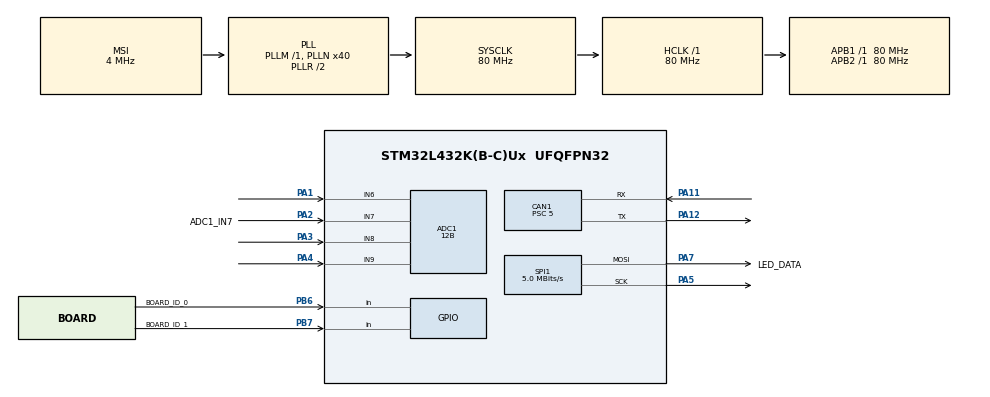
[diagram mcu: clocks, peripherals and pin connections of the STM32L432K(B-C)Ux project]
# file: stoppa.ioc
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ADC1.Channel-1\#ChannelRegularConversion=ADC_CHANNEL_6
ADC1.Channel-2\#ChannelRegularConversion=ADC_CHANNEL_7
ADC1.Channel-3\#ChannelRegularConversion=ADC_CHANNEL_8
ADC1.Channel-4\#ChannelRegularConversion=ADC_CHANNEL_9
ADC1.ClockPrescaler=ADC_CLOCK_ASYNC_DIV128
ADC1.ContinuousConvMode=ENABLE
ADC1.DMAContinuousRequests=ENABLE
ADC1.EOCSelection=ADC_EOC_SEQ_CONV
ADC1.NbrOfConversion=4
ADC1.NbrOfConversionFlag=1
ADC1.OffsetNumber-1\#ChannelRegularConversion=ADC_OFFSET_NONE
ADC1.OffsetNumber-2\#ChannelRegularConversion=ADC_OFFSET_NONE
ADC1.OffsetNumber-3\#ChannelRegularConversion=ADC_OFFSET_NONE
ADC1.OffsetNumber-4\#ChannelRegularConversion=ADC_OFFSET_NONE
ADC1.Rank-1\#ChannelRegularConversion=1
ADC1.Rank-2\#ChannelRegularConversion=2
ADC1.Rank-3\#ChannelRegularConversion=3
ADC1.Rank-4\#ChannelRegularConversion=4
ADC1.Resolution=ADC_RESOLUTION_12B
ADC1.SamplingTime-1\#ChannelRegularConversion=ADC_SAMPLETIME_640CYCLES_5
ADC1.SamplingTime-2\#ChannelRegularConversion=ADC_SAMPLETIME_640CYCLES_5
ADC1.SamplingTime-3\#ChannelRegularConversion=ADC_SAMPLETIME_2CYCLES_5
ADC1.SamplingTime-4\#ChannelRegularConversion=ADC_SAMPLETIME_640CYCLES_5
ADC1.master=1
CAN1.ABOM=ENABLE
CAN1.BS1=CAN_BS1_13TQ
CAN1.BS2=CAN_BS2_2TQ
CAN1.CalculateBaudRate=1000000
CAN1.CalculateTimeBit=1000
CAN1.CalculateTimeQuantum=62.5
CAN1.Mode=CAN_MODE_NORMAL
CAN1.NART=DISABLE
CAN1.Prescaler=5
CAN1.SJW=CAN_SJW_1TQ
CAN1.TXFP=DISABLE
Dma.ADC1.0.Direction=DMA_PERIPH_TO_MEMORY
Dma.ADC1.0.Instance=DMA1_Channel1
Dma.ADC1.0.MemDataAlignment=DMA_MDATAALIGN_HALFWORD
Dma.ADC1.0.MemInc=DMA_MINC_ENABLE
Dma.ADC1.0.Mode=DMA_CIRCULAR
Dma.ADC1.0.PeriphDataAlignment=DMA_PDATAALIGN_HALFWORD
Dma.ADC1.0.PeriphInc=DMA_PINC_DISABLE
Dma.ADC1.0.Priority=DMA_PRIORITY_LOW
Dma.Request0=ADC1
Dma.Request1=SPI1_TX
Dma.SPI1_TX.1.Direction=DMA_MEMORY_TO_PERIPH
Dma.SPI1_TX.1.Instance=DMA2_Channel4
Dma.SPI1_TX.1.MemDataAlignment=DMA_MDATAALIGN_BYTE
Dma.SPI1_TX.1.MemInc=DMA_MINC_ENABLE
Dma.SPI1_TX.1.Mode=DMA_NORMAL
Dma.SPI1_TX.1.PeriphDataAlignment=DMA_PDATAALIGN_BYTE
Dma.SPI1_TX.1.PeriphInc=DMA_PINC_DISABLE
Dma.SPI1_TX.1.Priority=DMA_PRIORITY_VERY_HIGH
IWDG.Reload=3999
IWDG.Window=3999
Mcu.Family=STM32L4
Mcu.Name=STM32L432K(B-C)Ux
Mcu.Package=UFQFPN32
NVIC.ADC1_IRQn=true\:0\:0\:false\:false\:true\:true\:true\:true
NVIC.CAN1_RX0_IRQn=true\:0\:0\:false\:false\:true\:true\:true\:true
NVIC.CAN1_RX1_IRQn=true\:0\:0\:false\:false\:true\:true\:true\:true
NVIC.CAN1_SCE_IRQn=true\:0\:0\:false\:false\:true\:true\:true\:true
NVIC.CAN1_TX_IRQn=true\:0\:0\:false\:false\:true\:true\:true\:true
NVIC.DMA1_Channel1_IRQn=true\:0\:0\:false\:false\:true\:false\:true\:true
NVIC.DMA2_Channel4_IRQn=true\:0\:0\:false\:false\:true\:false\:true\:true
NVIC.PriorityGroup=NVIC_PRIORITYGROUP_4
NVIC.SPI1_IRQn=true\:0\:0\:false\:false\:true\:true\:true\:true
PA0.Mode=HSE-External-Clock-Source-for-LittleOrca
PA0.Signal=RCC_CK_IN
PA1.Signal=ADCx_IN6
PA11.Mode=CAN_Activate
PA11.Signal=CAN1_RX
PA12.Mode=CAN_Activate
PA12.Signal=CAN1_TX
PA13\ (JTMS-SWDIO).Mode=Serial_Wire
PA13\ (JTMS-SWDIO).Signal=SYS_JTMS-SWDIO
PA14\ (JTCK-SWCLK).Mode=Serial_Wire
PA14\ (JTCK-SWCLK).Signal=SYS_JTCK-SWCLK
PA2.GPIO_Label=ADC1_IN7
PA2.Signal=ADCx_IN7
PA3.Signal=ADCx_IN8
PA4.Signal=ADCx_IN9
PA5.Mode=TX_Only_Simplex_Unidirect_Master
PA5.Signal=SPI1_SCK
PA7.GPIO_Label=LED_DATA
PA7.Mode=TX_Only_Simplex_Unidirect_Master
PA7.Signal=SPI1_MOSI
PB6.GPIO_Label=BOARD_ID_0
PB6.GPIO_PuPd=GPIO_NOPULL
PB6.Signal=GPIO_Input
PB7.GPIO_Label=BOARD_ID_1
PB7.GPIO_PuPd=GPIO_NOPULL
PB7.Signal=GPIO_Input
ProjectManager.HeapSize=0x200
ProjectManager.StackSize=0x400
ProjectManager.TargetToolchain=Makefile
RCC.ADCFreq_Value=32000000
RCC.AHBFreq_Value=80000000
RCC.APB1Freq_Value=80000000
RCC.APB1TimFreq_Value=80000000
RCC.APB2Freq_Value=80000000
RCC.APB2TimFreq_Value=80000000
RCC.CortexFreq_Value=80000000
RCC.HCLKFreq_Value=80000000
RCC.HSE_VALUE=25000000
RCC.HSI48_VALUE=48000000
RCC.HSI_VALUE=16000000
RCC.LSE_VALUE=32768
RCC.MSI_VALUE=4000000
RCC.PLLN=40
RCC.PLLSAI1N=16
RCC.SYSCLKFreq_VALUE=80000000
RCC.SYSCLKSource=RCC_SYSCLKSOURCE_PLLCLK
RCC.USBFreq_Value=32000000
RCC.VCOOutputFreq_Value=160000000
SH.ADCx_IN6.0=ADC1_IN6,IN6-Single-Ended
SH.ADCx_IN7.0=ADC1_IN7,IN7-Single-Ended
SH.ADCx_IN8.0=ADC1_IN8,IN8-Single-Ended
SH.ADCx_IN9.0=ADC1_IN9,IN9-Single-Ended
SPI1.BaudRatePrescaler=SPI_BAUDRATEPRESCALER_16
SPI1.CalculateBaudRate=5.0 MBits/s
SPI1.DataSize=SPI_DATASIZE_8BIT
SPI1.Direction=SPI_DIRECTION_2LINES
SPI1.Mode=SPI_MODE_MASTER
SPI1.NSSPMode=SPI_NSS_PULSE_DISABLE
SPI1.VirtualType=VM_MASTER
VP_IWDG_VS_IWDG.Mode=IWDG_Activate
board=custom

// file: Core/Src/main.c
/* USER CODE BEGIN Header */
/**
 ******************************************************************************
 * @file           : main.c
 * @brief          : Main program body
 ******************************************************************************
 * @attention
 *
 * Copyright (c) 2023 STMicroelectronics.
 * All rights reserved.
 *
 * This software is licensed under terms that can be found in the LICENSE file
 * in the root directory of this software component.
 * If no LICENSE file comes with this software, it is provided AS-IS.
 *
 ******************************************************************************
 */
/* USER CODE END Header */
#include "main.h"
#include "adc.h"
#include "can.h"
#include "dma.h"
#include "iwdg.h"
#include "spi.h"
#include "gpio.h"

/* USER CODE BEGIN Includes */
#include "canlv_sdc22.h"
#include "utils.h"
#include "ws2812_spi.h"
#include <stdbool.h>

/* USER CODE END Includes */

/* USER CODE BEGIN PV */
volatile bool newvalue = false;
volatile uint16_t adcval[4] = {0};
/* USER CODE END PV */

void SystemClock_Config(void);
/* USER CODE BEGIN PFP */
void handle_sync_signal(uint8_t state, uint8_t *newcolor);

/* USER CODE END PFP */

/* USER CODE BEGIN 0 */

void HAL_ADC_ConvCpltCallback(ADC_HandleTypeDef *hadc)
{
    newvalue = true;
}

#include <string.h>
/* USER CODE END 0 */

int main(void)
{

  /* MCU Configuration--------------------------------------------------------*/

  /* Reset of all peripherals, Initializes the Flash interface and the Systick. */
  HAL_Init();

  /* Configure the system clock */
  SystemClock_Config();

  /* Initialize all configured peripherals */
  MX_GPIO_Init();
  MX_DMA_Init();
  MX_CAN1_Init();
  MX_IWDG_Init();
  MX_ADC1_Init();
  MX_SPI1_Init();
  /* USER CODE BEGIN 2 */
    if (HAL_ADC_Start_DMA(&hadc1, (uint32_t *)adcval, 4) != HAL_OK)
    {
        Error_Handler();
    }
    ws2812_spi_set_all(0);
    ws2812_spi_send(&hspi1);
    if (HAL_CAN_Start(&hcan1) != HAL_OK)
    {
        Error_Handler();
    }
  /* USER CODE END 2 */

  /* Infinite loop */
  /* USER CODE BEGIN WHILE */
    uint32_t last_time = 0;
    uint8_t blink = 0;
    while (1)
    {
        HAL_IWDG_Refresh(&hiwdg);

        if (newvalue && HAL_GetTick() - last_time >= 20)
        {
            last_time = HAL_GetTick();

            static uint32_t mailbox;
            uint8_t data[8] = {0};

            CAN_TxHeaderTypeDef header = {0};
            if (utils_get_board_id() == BOARD_01)
            {
                header.StdId = CANLV_SDC22_SENSORBOARD_ADC_12_15_FRAME_ID;
                header.DLC = CANLV_SDC22_SENSORBOARD_ADC_12_15_LENGTH;

                // struct canlv_sdc22_sensorboard_adc_0_3_t status;

                // status.brake_strain_gauge1 = canlv_sdc22_sensorboard_adc_0_3_brake_strain_gauge1_encode(adcval[0]);
                // status.brake_strain_gauge2 = canlv_sdc22_sensorboard_adc_0_3_brake_strain_gauge2_encode(adcval[1]);
                // status.throttle1 = canlv_sdc22_sensorboard_adc_0_3_throttle1_encode(adcval[2]);
                // status.throttle2 = canlv_sdc22_sensorboard_adc_0_3_throttle2_encode(adcval[3]);

                // canlv_sdc22_sensorboard_adc_0_3_pack(data, &status, CANLV_SDC22_SENSORBOARD_ADC_0_3_LENGTH);
            }
            else if (utils_get_board_id() == BOARD_11)
            {
                header.StdId = CANLV_SDC22_SENSORBOARD_ADC_16_19_FRAME_ID;
                header.DLC = CANLV_SDC22_SENSORBOARD_ADC_16_19_LENGTH;

                // struct canlv_sdc22_sensorboard_adc_4_7_t status;

                // status.brake_press_front = canlv_sdc22_sensorboard_adc_4_7_brake_press_front_encode(adcval[0]);
                // status.steering_angle = canlv_sdc22_sensorboard_adc_4_7_steering_angle_encode(adcval[1]);
                // status.adc4 = canlv_sdc22_sensorboard_adc_4_7_adc4_encode(adcval[2]);
                // status.adc5 = canlv_sdc22_sensorboard_adc_4_7_adc5_encode(adcval[3]);

                // canlv_sdc22_sensorboard_adc_4_7_pack(data, &status, CANLV_SDC22_SENSORBOARD_ADC_4_7_LENGTH);
            }

            // little -> big endian

            data[0] = adcval[0] >> 8;
            data[1] = adcval[0] & 0x00FF;
            data[2] = adcval[1] >> 8;
            data[3] = adcval[1] & 0x00FF;
            data[4] = adcval[2] >> 8;
            data[5] = adcval[2] & 0x00FF;
            data[6] = adcval[3] >> 8;
            data[7] = adcval[3] & 0x00FF;

            // memcpy(data, adcval, 8);

            if (HAL_CAN_AddTxMessage(&hcan1, &header, (uint8_t *)data, &mailbox) == HAL_OK)
            {
                ws2812_spi_set_led(0, WS2812_COLOR(0, !blink ? 0xFF : 0, 0));
                blink++;
                if (blink == 2)
                {
                    blink = 0;
                }
            }
            else
            {
                HAL_CAN_ResetError(&hcan1);
                ws2812_spi_set_led(0, WS2812_COLOR(0xFF, 0, 0));
            }
            ws2812_spi_send(&hspi1);
            newvalue = false;
        }

    /* USER CODE END WHILE */

    }
}

void SystemClock_Config(void)
{
  RCC_OscInitTypeDef RCC_OscInitStruct = {0};
  RCC_ClkInitTypeDef RCC_ClkInitStruct = {0};

  /** Configure the main internal regulator output voltage
  */
  if (HAL_PWREx_ControlVoltageScaling(PWR_REGULATOR_VOLTAGE_SCALE1) != HAL_OK)
  {
    Error_Handler();
  }

  /** Initializes the RCC Oscillators according to the specified parameters
  * in the RCC_OscInitTypeDef structure.
  */
  RCC_OscInitStruct.OscillatorType = RCC_OSCILLATORTYPE_LSI|RCC_OSCILLATORTYPE_MSI;
  RCC_OscInitStruct.LSIState = RCC_LSI_ON;
  RCC_OscInitStruct.MSIState = RCC_MSI_ON;
  RCC_OscInitStruct.MSICalibrationValue = 0;
  RCC_OscInitStruct.MSIClockRange = RCC_MSIRANGE_6;
  RCC_OscInitStruct.PLL.PLLState = RCC_PLL_ON;
  RCC_OscInitStruct.PLL.PLLSource = RCC_PLLSOURCE_MSI;
  RCC_OscInitStruct.PLL.PLLM = 1;
  RCC_OscInitStruct.PLL.PLLN = 40;
  RCC_OscInitStruct.PLL.PLLP = RCC_PLLP_DIV7;
  RCC_OscInitStruct.PLL.PLLQ = RCC_PLLQ_DIV2;
  RCC_OscInitStruct.PLL.PLLR = RCC_PLLR_DIV2;
  if (HAL_RCC_OscConfig(&RCC_OscInitStruct) != HAL_OK)
  {
    Error_Handler();
  }

  /** Initializes the CPU, AHB and APB buses clocks
  */
  RCC_ClkInitStruct.ClockType = RCC_CLOCKTYPE_HCLK|RCC_CLOCKTYPE_SYSCLK
                              |RCC_CLOCKTYPE_PCLK1|RCC_CLOCKTYPE_PCLK2;
  RCC_ClkInitStruct.SYSCLKSource = RCC_SYSCLKSOURCE_PLLCLK;
  RCC_ClkInitStruct.AHBCLKDivider = RCC_SYSCLK_DIV1;
  RCC_ClkInitStruct.APB1CLKDivider = RCC_HCLK_DIV1;
  RCC_ClkInitStruct.APB2CLKDivider = RCC_HCLK_DIV1;

  if (HAL_RCC_ClockConfig(&RCC_ClkInitStruct, FLASH_LATENCY_4) != HAL_OK)
  {
    Error_Handler();
  }
}

void Error_Handler(void)
{
    __disable_irq();
    while (1)
    {
    }
}
